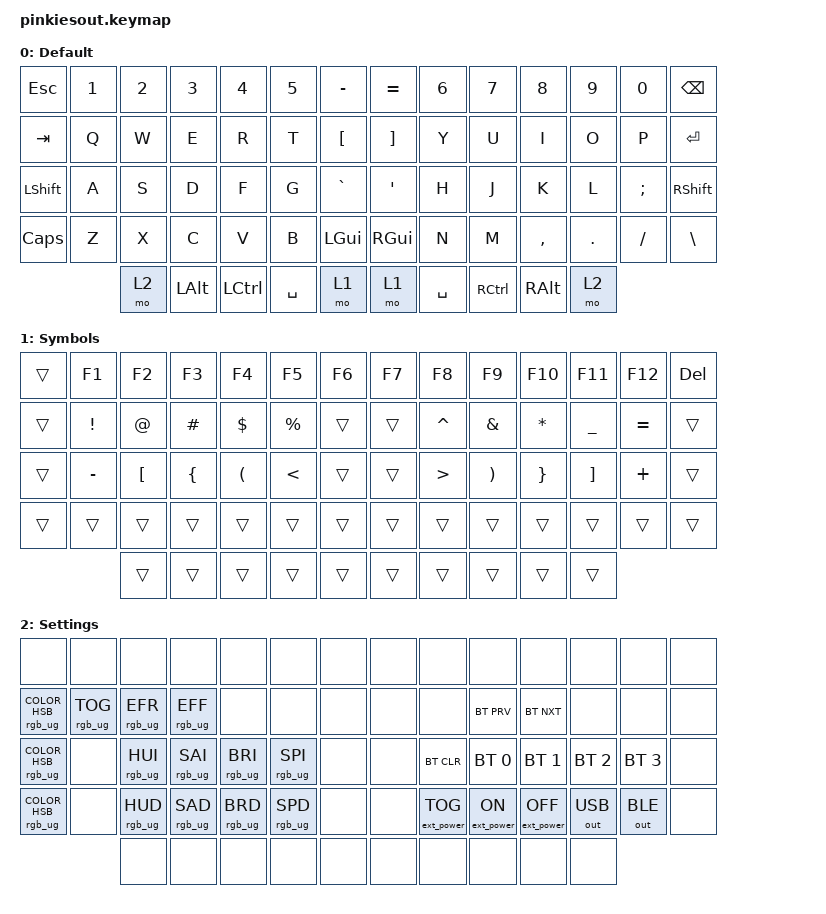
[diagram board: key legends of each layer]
#include <behaviors.dtsi>
#include <dt-bindings/zmk/keys.h>
#include <dt-bindings/zmk/rgb.h>
#include <dt-bindings/zmk/bt.h>
#include <dt-bindings/zmk/ext_power.h>
#include <dt-bindings/zmk/outputs.h>

/ {
    keymap {
        compatible = "zmk,keymap";

        Default {
            label = "Default";
            bindings = <
    &kp ESC  &kp N1  &kp N2    &kp N3     &kp N4     &kp N5  &kp MINUS          &kp EQUAL     &kp N6     &kp N7     &kp N8   &kp N9    &kp N0  &kp BACKSPACE
    &kp TAB   &kp Q   &kp W     &kp E      &kp R      &kp T   &kp LBKT           &kp RBKT      &kp Y      &kp U      &kp I    &kp O     &kp P        &kp RET
 &kp LSHIFT   &kp A   &kp S     &kp D      &kp F      &kp G  &kp GRAVE            &kp SQT      &kp H      &kp J      &kp K    &kp L  &kp SEMI     &kp RSHIFT
   &kp CAPS   &kp Z   &kp X     &kp C      &kp V      &kp B   &kp LGUI           &kp RGUI      &kp N      &kp M  &kp COMMA  &kp DOT  &kp FSLH       &kp BSLH
                      &mo 2  &kp LALT  &kp LCTRL  &kp SPACE      &mo 1              &mo 1  &kp SPACE  &kp RCTRL   &kp RALT    &mo 2
            >;
        };

        Symbols {
            label = "Symbols";
            bindings = <
 &trans     &kp F1    &kp F2    &kp F3    &kp F4     &kp F5  &kp F6          &kp F7     &kp F8    &kp F9    &kp F10    &kp F11    &kp F12  &kp DEL
 &trans   &kp EXCL    &kp AT  &kp HASH  &kp DLLR  &kp PRCNT  &trans          &trans  &kp CARET  &kp AMPS  &kp ASTRK  &kp UNDER  &kp EQUAL   &trans
 &trans  &kp MINUS  &kp LBKT  &kp LBRC  &kp LPAR     &kp LT  &trans          &trans     &kp GT  &kp RPAR   &kp RBRC   &kp RBKT   &kp PLUS   &trans
 &trans     &trans    &trans    &trans    &trans     &trans  &trans          &trans     &trans    &trans     &trans     &trans     &trans   &trans
                      &trans    &trans    &trans     &trans  &trans          &trans     &trans    &trans     &trans     &trans
            >;
        };

        Settings {
            label = "Settings";
            bindings = <
                              &none            &none            &none            &none            &none            &none   &none           &none              &none             &none              &none         &none         &none   &none
      &rgb_ug RGB_COLOR_HSB(0,0,20)  &rgb_ug RGB_TOG  &rgb_ug RGB_EFR  &rgb_ug RGB_EFF            &none            &none   &none           &none              &none        &bt BT_PRV         &bt BT_NXT         &none         &none   &none
 &rgb_ug RGB_COLOR_HSB(224,100,100)            &none  &rgb_ug RGB_HUI  &rgb_ug RGB_SAI  &rgb_ug RGB_BRI  &rgb_ug RGB_SPI   &none           &none         &bt BT_CLR      &bt BT_SEL 0       &bt BT_SEL 1  &bt BT_SEL 2  &bt BT_SEL 3   &none
 &rgb_ug RGB_COLOR_HSB(278,100,100)            &none  &rgb_ug RGB_HUD  &rgb_ug RGB_SAD  &rgb_ug RGB_BRD  &rgb_ug RGB_SPD   &none           &none  &ext_power EP_TOG  &ext_power EP_ON  &ext_power EP_OFF  &out OUT_USB  &out OUT_BLE   &none
                                                                &none            &none            &none            &none   &none           &none              &none             &none              &none         &none
            >;
        };
    };
};
